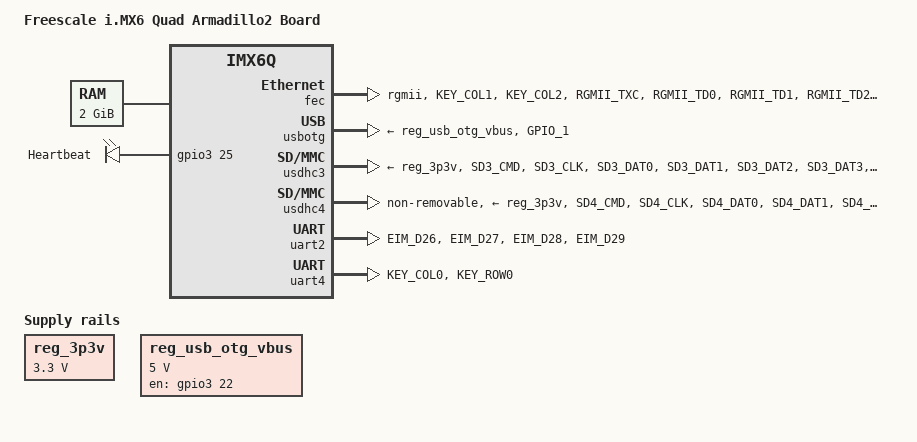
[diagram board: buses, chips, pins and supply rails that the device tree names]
/*
 * Copyright 2011 Freescale Semiconductor, Inc.
 * Copyright 2011 Linaro Ltd.
 *
 * The code contained herein is licensed under the GNU General Public
 * License. You may obtain a copy of the GNU General Public License
 * Version 2 or later at the following locations:
 *
 * http://www.opensource.org/licenses/gpl-license.html
 * http://www.gnu.org/copyleft/gpl.html
 */

/dts-v1/;
#include <dt-bindings/gpio/gpio.h>
#include "imx6q.dtsi"

/ {
	model = "Freescale i.MX6 Quad Armadillo2 Board";
	compatible = "fsl,imx6q-arm2", "fsl,imx6q";

	memory@10000000 {
		reg = <0x10000000 0x80000000>;
	};

	regulators {
		compatible = "simple-bus";
		#address-cells = <1>;
		#size-cells = <0>;

		reg_3p3v: regulator@0 {
			compatible = "regulator-fixed";
			reg = <0>;
			regulator-name = "3P3V";
			regulator-min-microvolt = <3300000>;
			regulator-max-microvolt = <3300000>;
			regulator-always-on;
		};

		reg_usb_otg_vbus: regulator@1 {
			compatible = "regulator-fixed";
			reg = <1>;
			regulator-name = "usb_otg_vbus";
			regulator-min-microvolt = <5000000>;
			regulator-max-microvolt = <5000000>;
			gpio = <&gpio3 22 0>;
			enable-active-high;
		};
	};

	leds {
		compatible = "gpio-leds";

		debug-led {
			label = "Heartbeat";
			gpios = <&gpio3 25 0>;
			linux,default-trigger = "heartbeat";
		};
	};
};

&gpmi {
	pinctrl-names = "default";
	pinctrl-0 = <&pinctrl_gpmi_nand>;
	status = "disabled"; /* gpmi nand conflicts with SD */
};

&iomuxc {
	pinctrl-names = "default";
	pinctrl-0 = <&pinctrl_hog>;

	imx6q-arm2 {
		pinctrl_hog: hoggrp {
			fsl,pins = <
				MX6QDL_PAD_EIM_D25__GPIO3_IO25 0x80000000
			>;
		};

		pinctrl_enet: enetgrp {
			fsl,pins = <
				MX6QDL_PAD_KEY_COL1__ENET_MDIO		0x1b0b0
				MX6QDL_PAD_KEY_COL2__ENET_MDC		0x1b0b0
				MX6QDL_PAD_RGMII_TXC__RGMII_TXC		0x1b030
				MX6QDL_PAD_RGMII_TD0__RGMII_TD0		0x1b030
				MX6QDL_PAD_RGMII_TD1__RGMII_TD1		0x1b030
				MX6QDL_PAD_RGMII_TD2__RGMII_TD2		0x1b030
				MX6QDL_PAD_RGMII_TD3__RGMII_TD3		0x1b030
				MX6QDL_PAD_RGMII_TX_CTL__RGMII_TX_CTL	0x1b030
				MX6QDL_PAD_ENET_REF_CLK__ENET_TX_CLK	0x1b0b0
				MX6QDL_PAD_RGMII_RXC__RGMII_RXC		0x1b030
				MX6QDL_PAD_RGMII_RD0__RGMII_RD0		0x1b030
				MX6QDL_PAD_RGMII_RD1__RGMII_RD1		0x1b030
				MX6QDL_PAD_RGMII_RD2__RGMII_RD2		0x1b030
				MX6QDL_PAD_RGMII_RD3__RGMII_RD3		0x1b030
				MX6QDL_PAD_RGMII_RX_CTL__RGMII_RX_CTL	0x1b030
				MX6QDL_PAD_GPIO_6__ENET_IRQ		0x000b1
			>;
		};

		pinctrl_gpmi_nand: gpminandgrp {
			fsl,pins = <
				MX6QDL_PAD_NANDF_CLE__NAND_CLE		0xb0b1
				MX6QDL_PAD_NANDF_ALE__NAND_ALE		0xb0b1
				MX6QDL_PAD_NANDF_WP_B__NAND_WP_B	0xb0b1
				MX6QDL_PAD_NANDF_RB0__NAND_READY_B	0xb000
				MX6QDL_PAD_NANDF_CS0__NAND_CE0_B	0xb0b1
				MX6QDL_PAD_NANDF_CS1__NAND_CE1_B	0xb0b1
				MX6QDL_PAD_SD4_CMD__NAND_RE_B		0xb0b1
				MX6QDL_PAD_SD4_CLK__NAND_WE_B		0xb0b1
				MX6QDL_PAD_NANDF_D0__NAND_DATA00	0xb0b1
				MX6QDL_PAD_NANDF_D1__NAND_DATA01	0xb0b1
				MX6QDL_PAD_NANDF_D2__NAND_DATA02	0xb0b1
				MX6QDL_PAD_NANDF_D3__NAND_DATA03	0xb0b1
				MX6QDL_PAD_NANDF_D4__NAND_DATA04	0xb0b1
				MX6QDL_PAD_NANDF_D5__NAND_DATA05	0xb0b1
				MX6QDL_PAD_NANDF_D6__NAND_DATA06	0xb0b1
				MX6QDL_PAD_NANDF_D7__NAND_DATA07	0xb0b1
				MX6QDL_PAD_SD4_DAT0__NAND_DQS		0x00b1
			>;
		};

		pinctrl_uart2: uart2grp {
			fsl,pins = <
				MX6QDL_PAD_EIM_D26__UART2_RX_DATA	0x1b0b1
				MX6QDL_PAD_EIM_D27__UART2_TX_DATA	0x1b0b1
				MX6QDL_PAD_EIM_D28__UART2_DTE_CTS_B	0x1b0b1
				MX6QDL_PAD_EIM_D29__UART2_DTE_RTS_B	0x1b0b1
			>;
		};

		pinctrl_uart4: uart4grp {
			fsl,pins = <
				MX6QDL_PAD_KEY_COL0__UART4_TX_DATA	0x1b0b1
				MX6QDL_PAD_KEY_ROW0__UART4_RX_DATA	0x1b0b1
			>;
		};

		pinctrl_usbotg: usbotggrp {
			fsl,pins = <
				MX6QDL_PAD_GPIO_1__USB_OTG_ID		0x17059
			>;
		};

		pinctrl_usdhc3: usdhc3grp {
			fsl,pins = <
				MX6QDL_PAD_SD3_CMD__SD3_CMD		0x17059
				MX6QDL_PAD_SD3_CLK__SD3_CLK		0x10059
				MX6QDL_PAD_SD3_DAT0__SD3_DATA0		0x17059
				MX6QDL_PAD_SD3_DAT1__SD3_DATA1		0x17059
				MX6QDL_PAD_SD3_DAT2__SD3_DATA2		0x17059
				MX6QDL_PAD_SD3_DAT3__SD3_DATA3		0x17059
				MX6QDL_PAD_SD3_DAT4__SD3_DATA4		0x17059
				MX6QDL_PAD_SD3_DAT5__SD3_DATA5		0x17059
				MX6QDL_PAD_SD3_DAT6__SD3_DATA6		0x17059
				MX6QDL_PAD_SD3_DAT7__SD3_DATA7		0x17059
			>;
		};

		pinctrl_usdhc3_cdwp: usdhc3cdwp {
			fsl,pins = <
				MX6QDL_PAD_NANDF_CS0__GPIO6_IO11 0x80000000
				MX6QDL_PAD_NANDF_CS1__GPIO6_IO14 0x80000000
			>;
		};

		pinctrl_usdhc4: usdhc4grp {
			fsl,pins = <
				MX6QDL_PAD_SD4_CMD__SD4_CMD		0x17059
				MX6QDL_PAD_SD4_CLK__SD4_CLK		0x10059
				MX6QDL_PAD_SD4_DAT0__SD4_DATA0		0x17059
				MX6QDL_PAD_SD4_DAT1__SD4_DATA1		0x17059
				MX6QDL_PAD_SD4_DAT2__SD4_DATA2		0x17059
				MX6QDL_PAD_SD4_DAT3__SD4_DATA3		0x17059
				MX6QDL_PAD_SD4_DAT4__SD4_DATA4		0x17059
				MX6QDL_PAD_SD4_DAT5__SD4_DATA5		0x17059
				MX6QDL_PAD_SD4_DAT6__SD4_DATA6		0x17059
				MX6QDL_PAD_SD4_DAT7__SD4_DATA7		0x17059
			>;
		};
	};
};

&fec {
	pinctrl-names = "default";
	pinctrl-0 = <&pinctrl_enet>;
	phy-mode = "rgmii";
	interrupts-extended = <&gpio1 6 IRQ_TYPE_LEVEL_HIGH>,
			      <&intc 0 119 IRQ_TYPE_LEVEL_HIGH>;
	fsl,err006687-workaround-present;
	status = "okay";
};

&usbotg {
	vbus-supply = <&reg_usb_otg_vbus>;
	pinctrl-names = "default";
	pinctrl-0 = <&pinctrl_usbotg>;
	disable-over-current;
	status = "okay";
};

&usdhc3 {
	cd-gpios = <&gpio6 11 GPIO_ACTIVE_LOW>;
	wp-gpios = <&gpio6 14 GPIO_ACTIVE_HIGH>;
	vmmc-supply = <&reg_3p3v>;
	pinctrl-names = "default";
	pinctrl-0 = <&pinctrl_usdhc3
		     &pinctrl_usdhc3_cdwp>;
	status = "okay";
};

&usdhc4 {
	non-removable;
	vmmc-supply = <&reg_3p3v>;
	pinctrl-names = "default";
	pinctrl-0 = <&pinctrl_usdhc4>;
	status = "okay";
};

&uart2 {
	pinctrl-names = "default";
	pinctrl-0 = <&pinctrl_uart2>;
	fsl,dte-mode;
	uart-has-rtscts;
	status = "okay";
};

&uart4 {
	pinctrl-names = "default";
	pinctrl-0 = <&pinctrl_uart4>;
	status = "okay";
};
